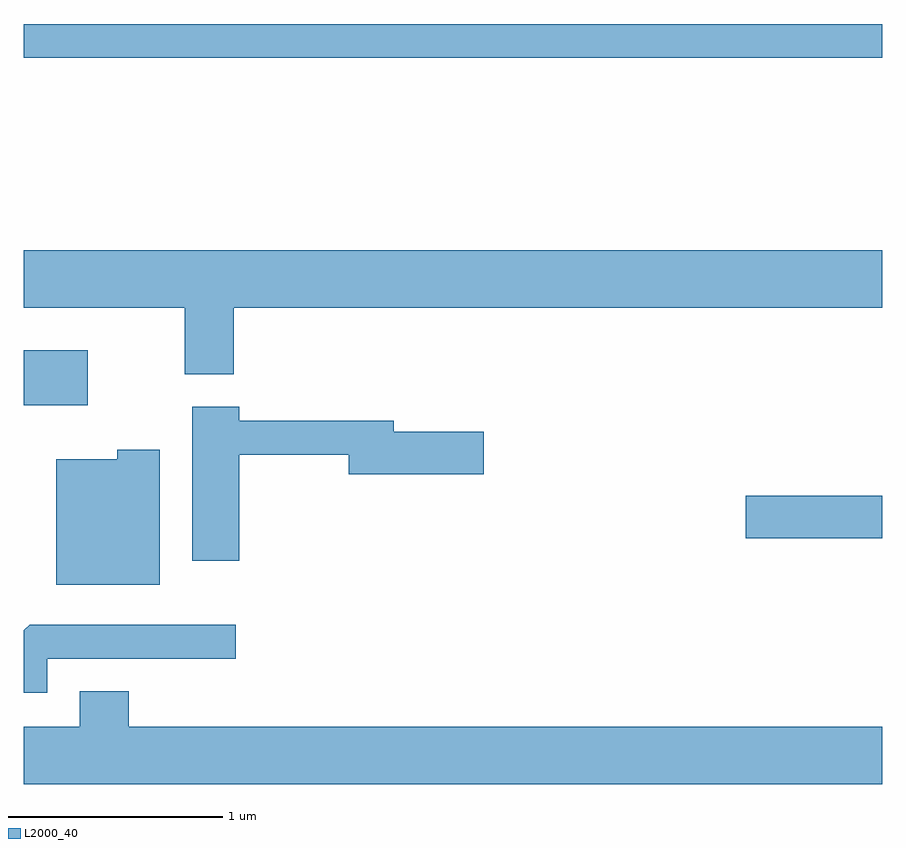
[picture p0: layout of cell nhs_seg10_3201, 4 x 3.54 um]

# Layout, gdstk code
import gdstk
lib = gdstk.Library(unit=1e-6, precision=1e-09)
def R(c, l, rs):  # rectangles x0, y0, x1, y1
    for r in rs: c.add(gdstk.rectangle(r[:2], r[2:], *l))
def P(c, l, *ps):  # polygons
    for p in ps: c.add(gdstk.Polygon(p, *l))
L2000_40 = (2000, 40)

nhs_seg10_3201 = lib.new_cell('nhs_seg10_3201')
R(nhs_seg10_3201, L2000_40, [(282.976,2121.721,283.611,2121.919), (279.611,2122.341,279.909,2122.599), (279.611,2123.961,283.611,2124.119)])
P(nhs_seg10_3201, L2000_40, [(280.589,2122.796),(283.611,2122.796),(283.611,2123.064),(279.611,2123.064),(279.611,2122.796),(280.361,2122.796),(280.361,2122.486),(280.589,2122.486)],
  [(280.614,2122.111),(281.126,2122.111),(281.126,2122.021),(281.754,2122.021),(281.754,2122.219),(281.334,2122.219),(281.334,2122.269),(280.614,2122.269),(280.614,2122.334),(280.396,2122.334),(280.396,2121.616),(280.614,2121.616)],
  [(280.244,2122.134),(280.046,2122.134),(280.046,2122.089),(279.761,2122.089),(279.761,2121.506),(280.244,2121.506)],
  [(279.719,2121.161),(280.598,2121.161),(280.598,2121.319),(279.637,2121.319),(279.611,2121.293),(279.611,2121.001),(279.719,2121.001)],
  [(283.611,2120.844),(280.099,2120.844),(280.099,2121.009),(279.871,2121.009),(279.871,2120.844),(279.611,2120.844),(279.611,2120.576),(283.611,2120.576)])

lib.write_gds('nhs_seg10_3201.gds')
